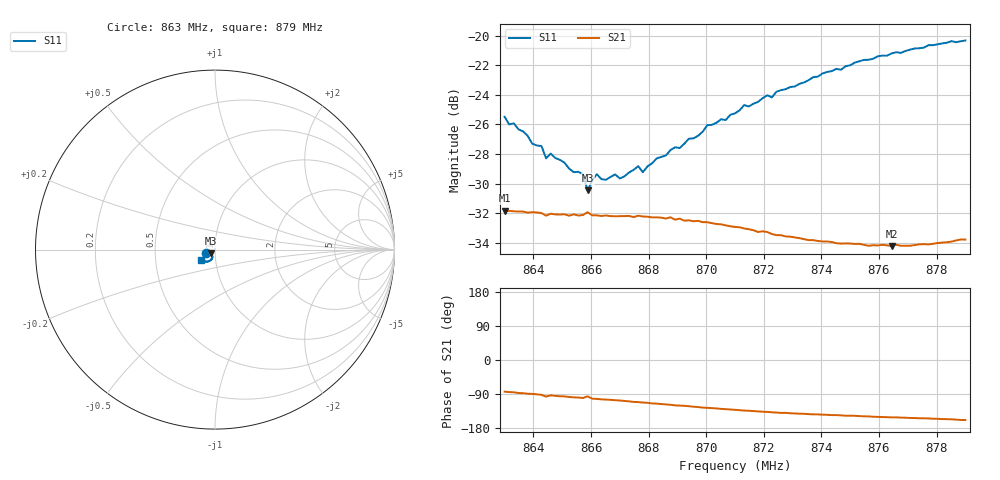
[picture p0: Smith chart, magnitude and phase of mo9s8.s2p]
# HZ S RI R 50
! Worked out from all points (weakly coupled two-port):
!   101 points, 863 MHz to 879 MHz, reference 50 ohm
!   highest |S21| = -31.82 dB at 863 MHz (marker M1); lowest = -34.2 dB at 876.44 MHz (marker M2)
!   lowest |S11| = -30.4 dB at 865.88 MHz (marker M3), VSWR 1.06, Z = 47.8 - j2 ohm
!   |S11| at or under -10 dB: start of sweep to end of sweep
!   S12 and S22 are empty: the file has one direction only
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8.63e8  -0.0498 -0.0188  0.00293 -0.0255  0 0  0 0
8.6396e8  -0.0395 -0.0174  0.000232 -0.0254  0 0  0 0
8.6428e8  -0.0374 -0.0199  -0.00087 -0.0252  0 0  0 0
8.6444e8  -0.0353 -0.0153  -0.00285 -0.0245  0 0  0 0
8.646e8  -0.0355 -0.0184  -0.00142 -0.025  0 0  0 0
8.654e8  -0.0285 -0.0196  -0.00373 -0.0247  0 0  0 0
8.6572e8  -0.026 -0.022  -0.00441 -0.0244  0 0  0 0
8.6588e8  -0.0216 -0.0208  -0.00266 -0.0252  0 0  0 0
8.662e8  -0.0249 -0.0232  -0.00539 -0.0242  0 0  0 0
8.6636e8  -0.023 -0.0234  -0.0059 -0.0239  0 0  0 0
8.6684e8  -0.021 -0.0268  -0.00685 -0.0236  0 0  0 0
8.67e8  -0.0201 -0.0261  -0.00716 -0.0235  0 0  0 0
8.6764e8  -0.0184 -0.0313  -0.00887 -0.023  0 0  0 0
8.678e8  -0.0168 -0.0303  -0.00931 -0.0227  0 0  0 0
8.6844e8  -0.0153 -0.0358  -0.0107 -0.0218  0 0  0 0
8.6972e8  -0.0148 -0.0435  -0.0133 -0.0196  0 0  0 0
8.7004e8  -0.0165 -0.047  -0.0138 -0.0189  0 0  0 0
8.71e8  -0.0189 -0.0513  -0.015 -0.017  0 0  0 0
8.7132e8  -0.0197 -0.0549  -0.0154 -0.0162  0 0  0 0
8.7372e8  -0.033 -0.0645  -0.0164 -0.0122  0 0  0 0
8.7644e8  -0.0565 -0.0663  -0.0171 -0.00933  0 0  0 0
8.79e8  -0.0788 -0.0553  -0.0191 -0.00756  0 0  0 0
